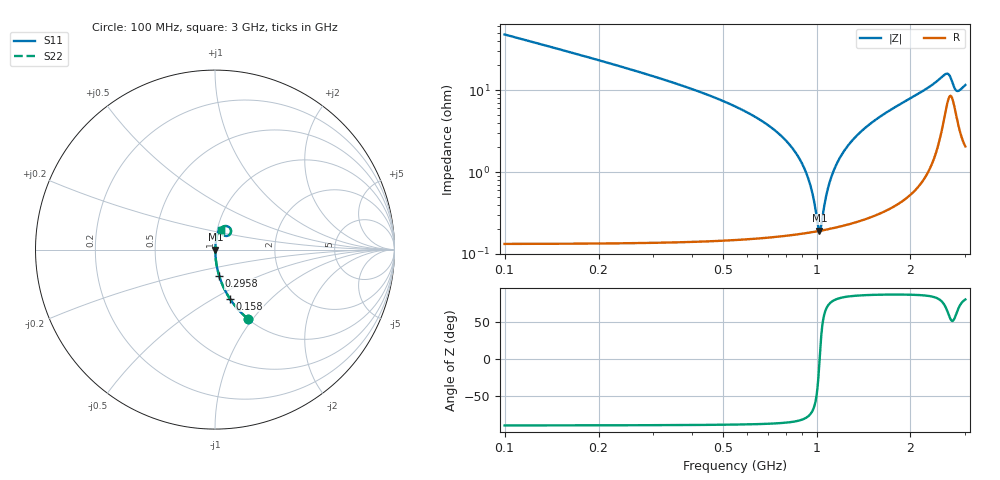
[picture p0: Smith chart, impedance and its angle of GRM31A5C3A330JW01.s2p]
!Murata Part Number: GRM31A5C3A330JW01
!These Parameters are Measured in Series Mode Connection
!Data Generated on Mar 30, 2021
!  o--ll--o
!Port1  Port2
!  o------o
!Operation Temp=25[degC], DC Bias Voltage=0[V]
!Freq. Start=100[MHz] Stop=3[GHz] 401[Steps]
# Hz S RI R 50
!Freq.(Hz) S11(Real) S11(Imag) S21(Real) S21(Imag) S12(Real) S12(Imag) S22(Real) S22(Imag)
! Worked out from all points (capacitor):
!   401 points, 100 MHz to 3 GHz, reference 50 ohm
!   read as one part in series: C = 33 pF near 114.5 MHz
!   lowest |Z| = 192 mohm at 1.021 GHz (marker M1)
!   series resonance near 1.023 GHz, so ESL is about 730 pH
!   S11 on the Smith chart (normalised r, x): 100 MHz: 1.00, -0.96; 158 MHz: 1.00, -0.60; 295.8 MHz: 1.00, -0.30; 3 GHz: 1.04, +0.23
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1e8  0.1865 -0.3882  0.8135 0.3882  0.8135 0.3882  0.1865 -0.3882
1.58e8  0.0827 -0.2732  0.9173 0.2732  0.9173 0.2732  0.0827 -0.2732
2.9575e8  0.0232 -0.1461  0.9768 0.1461  0.9768 0.1461  0.0232 -0.1461
5.8575e8  0.0046 -0.0556  0.9954 0.0556  0.9954 0.0556  0.0046 -0.0556
7.67e8  0.00241 -0.0279  0.9976 0.0279  0.9976 0.0279  0.00241 -0.0279
8.83e8  0.00195 -0.0142  0.9981 0.0142  0.9981 0.0142  0.00195 -0.0142
9.555e8  0.00187 -0.0066  0.9981 0.0066  0.9981 0.0066  0.00187 -0.0066
9.7725e8  0.00187 -0.00443  0.9981 0.00443  0.9981 0.00443  0.00187 -0.00443
1.00625e9  0.00189 -0.0016  0.9981 0.0016  0.9981 0.0016  0.00189 -0.0016
1.02075e9  0.00191 -0.000215  0.9981 0.000215  0.9981 0.000215  0.00191 -0.000215
1.03525e9  0.00193 0.00115  0.9981 -0.00115  0.9981 -0.00115  0.00193 0.00115
1.0715e9  0.00199 0.0045  0.998 -0.0045  0.998 -0.0045  0.00199 0.0045
1.1005e9  0.00207 0.00712  0.9979 -0.00712  0.9979 -0.00712  0.00207 0.00712
1.1295e9  0.00215 0.00968  0.9978 -0.00968  0.9978 -0.00968  0.00215 0.00968
1.22375e9  0.00253 0.0177  0.9975 -0.0177  0.9975 -0.0177  0.00253 0.0177
1.3615e9  0.00331 0.0288  0.9967 -0.0288  0.9967 -0.0288  0.00331 0.0288
1.55e9  0.00484 0.0433  0.9952 -0.0433  0.9952 -0.0433  0.00484 0.0433
2.03575e9  0.0122 0.0811  0.9878 -0.0811  0.9878 -0.0811  0.0122 0.0811
2.5215e9  0.0493 0.1299  0.9507 -0.1299  0.9507 -0.1299  0.0493 0.1299
2.64475e9  0.0862 0.1159  0.9138 -0.1159  0.9138 -0.1159  0.0862 0.1159
2.8115e9  0.0511 0.0783  0.9489 -0.0783  0.9489 -0.0783  0.0511 0.0783
3e9  0.0321 0.1079  0.9679 -0.1079  0.9679 -0.1079  0.0321 0.1079
